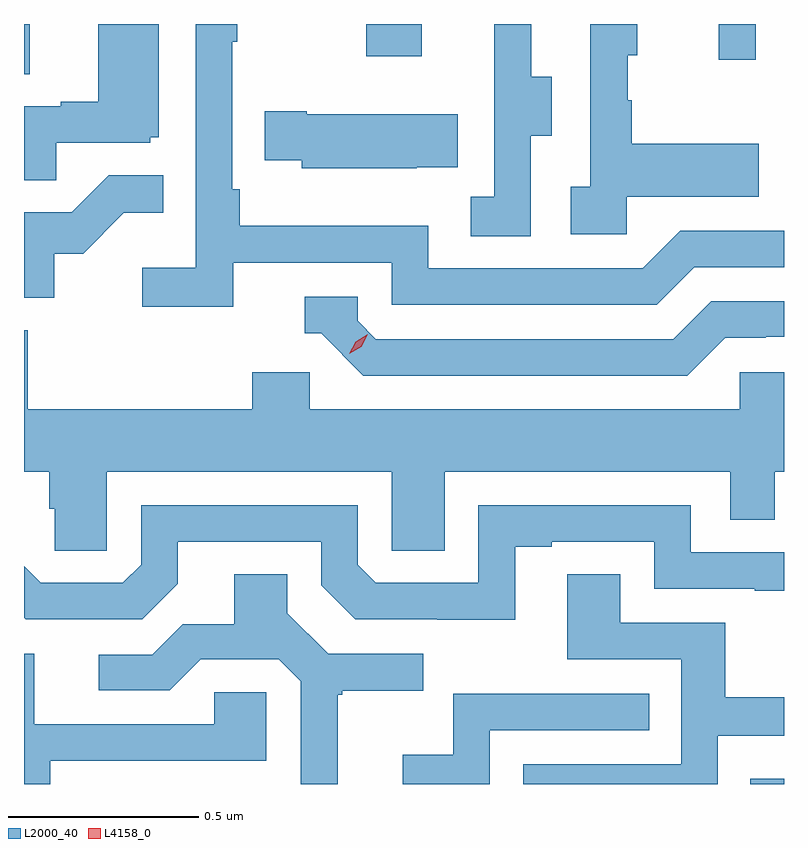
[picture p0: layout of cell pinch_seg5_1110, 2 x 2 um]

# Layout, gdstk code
import gdstk
lib = gdstk.Library(unit=1e-6, precision=1e-09)
def R(c, l, rs):  # rectangles x0, y0, x1, y1
    for r in rs: c.add(gdstk.rectangle(r[:2], r[2:], *l))
def P(c, l, *ps):  # polygons
    for p in ps: c.add(gdstk.Polygon(p, *l))
L2000_40 = (2000, 40)
L4158_0 = (4158, 0)

pinch_seg5_1110 = lib.new_cell('pinch_seg5_1110')
R(pinch_seg5_1110, L2000_40, [(865.471,867.926,865.56,867.94), (863.56,869.794,863.575,869.926), (865.388,869.832,865.485,869.926), (864.46,869.841,864.607,869.926)])
P(pinch_seg5_1110, L2000_40, [(864.11,869.298),(864.528,869.298),(864.528,869.187),(865.225,869.187),(865.324,869.286),(865.56,869.286),(865.56,869.382),(865.287,869.382),(865.188,869.283),(864.624,869.283),(864.624,869.395),(864.128,869.395),(864.128,869.491),(864.108,869.491),(864.108,869.879),(864.121,869.879),(864.121,869.926),(864.012,869.926),(864.012,869.284),(863.871,869.284),(863.871,869.182),(864.11,869.182)],
  [(863.645,869.613),(863.892,869.613),(863.892,869.628),(863.914,869.628),(863.914,869.926),(863.756,869.926),(863.756,869.722),(863.657,869.722),(863.657,869.709),(863.56,869.709),(863.56,869.515),(863.645,869.515)],
  [(864.894,869.632),(864.949,869.632),(864.949,869.787),(864.895,869.787),(864.895,869.926),(864.797,869.926),(864.797,869.775),(864.798,869.775),(864.798,869.471),(864.735,869.471),(864.735,869.368),(864.894,869.368)],
  [(865.146,869.471),(865.493,869.471),(865.493,869.611),(865.159,869.611),(865.159,869.726),(865.149,869.726),(865.149,869.844),(865.174,869.844),(865.174,869.926),(865.05,869.926),(865.05,869.498),(864.999,869.498),(864.999,869.373),(865.146,869.373)],
  [(864.593,869.549),(864.701,869.549),(864.701,869.689),(864.304,869.689),(864.304,869.697),(864.193,869.697),(864.193,869.567),(864.291,869.567),(864.291,869.546),(864.593,869.546)],
  [(863.64,869.322),(863.716,869.322),(863.823,869.429),(863.927,869.429),(863.927,869.528),(863.783,869.528),(863.685,869.43),(863.56,869.43),(863.56,869.205),(863.64,869.205)],
  [(865.405,869.1),(865.512,869.1),(865.512,869.103),(865.56,869.103),(865.56,869.196),(865.368,869.196),(865.269,869.097),(864.486,869.097),(864.438,869.145),(864.438,869.208),(864.299,869.208),(864.299,869.112),(864.342,869.112),(864.453,869.001),(865.306,869.001)],
  [(863.778,868.748),(864.528,868.748),(864.528,868.54),(864.667,868.54),(864.667,868.748),(865.419,868.748),(865.419,868.621),(865.535,868.621),(865.535,868.748),(865.56,868.748),(865.56,869.01),(865.443,869.01),(865.443,868.912),(864.312,868.912),(864.312,869.01),(864.161,869.01),(864.161,868.912),(863.57,868.912),(863.57,869.12),(863.56,869.12),(863.56,868.748),(863.627,868.748),(863.627,868.65),(863.641,868.65),(863.641,868.54),(863.778,868.54)],
  [(864.853,868.551),(864.949,868.551),(864.949,868.563),(865.218,868.563),(865.218,868.44),(865.483,868.44),(865.483,868.435),(865.56,868.435),(865.56,868.536),(865.314,868.536),(865.314,868.659),(864.756,868.659),(864.756,868.455),(864.486,868.455),(864.438,868.503),(864.438,868.659),(863.868,868.659),(863.868,868.503),(863.82,868.455),(863.604,868.455),(863.56,868.499),(863.56,868.364),(863.565,868.359),(863.871,868.359),(863.965,868.453),(863.965,868.563),(864.342,868.563),(864.342,868.449),(864.432,868.359),(864.648,868.359),(864.648,868.358),(864.853,868.358)],
  [(865.386,868.053),(865.56,868.053),(865.56,868.154),(865.406,868.154),(865.406,868.35),(865.129,868.35),(865.129,868.478),(864.989,868.478),(864.989,868.254),(865.29,868.254),(865.29,867.978),(864.874,867.978),(864.874,867.926),(865.386,867.926)],
  [(864.385,868.161),(864.397,868.161),(864.397,868.172),(864.61,868.172),(864.61,868.269),(864.36,868.269),(864.253,868.376),(864.253,868.478),(864.113,868.478),(864.113,868.346),(863.978,868.346),(863.898,868.266),(863.757,868.266),(863.757,868.173),(863.944,868.173),(864.025,868.254),(864.231,868.254),(864.288,868.197),(864.288,867.926),(864.385,867.926)],
  [(863.629,867.987),(864.198,867.987),(864.198,868.167),(864.061,868.167),(864.061,868.083),(863.587,868.083),(863.587,868.269),(863.56,868.269),(863.56,867.926),(863.629,867.926)],
  [(864.786,868.068),(865.205,868.068),(865.205,868.164),(864.69,868.164),(864.69,868.003),(864.557,868.003),(864.557,867.926),(864.786,867.926)])
P(pinch_seg5_1110, L4158_0, [(864.416,869.058),(864.416,869.058),(864.433,869.09),(864.464,869.11),(864.464,869.11),(864.464,869.109),(864.447,869.077),(864.416,869.058)])

lib.write_gds('pinch_seg5_1110.gds')
